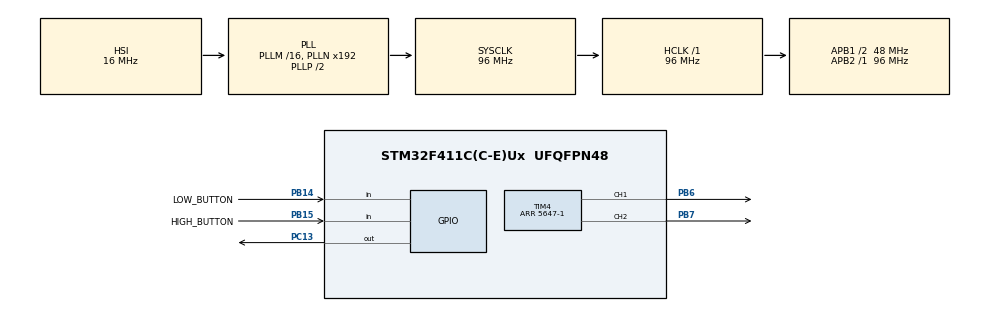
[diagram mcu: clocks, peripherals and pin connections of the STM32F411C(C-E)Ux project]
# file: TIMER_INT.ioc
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Mcu.Family=STM32F4
Mcu.Name=STM32F411C(C-E)Ux
Mcu.Package=UFQFPN48
NVIC.PriorityGroup=NVIC_PRIORITYGROUP_4
NVIC.TIM3_IRQn=true\:0\:0\:false\:false\:true\:true\:true\:true
NVIC.TIM4_IRQn=true\:0\:0\:false\:false\:true\:true\:true\:true
PA14.Signal=SYS_JTCK-SWCLK
PB14.GPIO_Label=LOW_BUTTON
PB14.Signal=GPIO_Input
PB15.GPIO_Label=HIGH_BUTTON 
PB15.Signal=GPIO_Input
PB6.Signal=S_TIM4_CH1
PB7.Signal=S_TIM4_CH2
PC13-ANTI_TAMP.Signal=GPIO_Output
ProjectManager.HeapSize=0x200
ProjectManager.StackSize=0x400
ProjectManager.TargetToolchain=EWARM V8.50
RCC.48MHZClocksFreq_Value=48000000
RCC.AHBFreq_Value=96000000
RCC.APB1CLKDivider=RCC_HCLK_DIV2
RCC.APB1Freq_Value=48000000
RCC.APB1TimFreq_Value=96000000
RCC.APB2Freq_Value=96000000
RCC.APB2TimFreq_Value=96000000
RCC.CortexFreq_Value=96000000
RCC.HCLKFreq_Value=96000000
RCC.HSE_VALUE=25000000
RCC.HSI_VALUE=16000000
RCC.LSE_VALUE=32768
RCC.SYSCLKFreq_VALUE=96000000
RCC.SYSCLKSource=RCC_SYSCLKSOURCE_PLLCLK
RCC.VCOOutputFreq_Value=192000000
SH.S_TIM4_CH1.0=TIM4_CH1,PWM Generation1 CH1
SH.S_TIM4_CH2.0=TIM4_CH2,PWM Generation2 CH2
TIM3.Channel-Output\ Compare1\ No\ Output=TIM_CHANNEL_1
TIM3.Prescaler=9600-1
TIM4.Channel-PWM\ Generation1\ CH1=TIM_CHANNEL_1
TIM4.Channel-PWM\ Generation2\ CH2=TIM_CHANNEL_2
TIM4.Period=5647-1
VP_TIM3_VS_ClockSourceINT.Mode=Internal
VP_TIM3_VS_no_output1.Mode=Output Compare1 No Output
VP_TIM4_VS_ClockSourceINT.Mode=Internal
board=custom

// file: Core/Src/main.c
/* USER CODE BEGIN Header */
/**
  ******************************************************************************
  * @file           : main.c
  * @brief          : Main program body
  ****************************-**************************************************
  * @attention
  *
  * Copyright (c) 2025 STMicroelectronics.
  * All rights reserved.
  *
  * This software is licensed under terms that can be found in the LICENSE file
  * in the root directory of this software component.
  * If no LICENSE file comes with this software, it is provided AS-IS.
  *
  ******************************************************************************
  */
/* USER CODE END Header */
#include "main.h"
#include "button.h"

TIM_HandleTypeDef htim3;
TIM_HandleTypeDef htim4;

void SystemClock_Config(void);
static void MX_GPIO_Init(void);
static void MX_TIM4_Init(void);
static void MX_TIM3_Init(void);

/* USER CODE BEGIN 0 */

uint32_t time_count = 0;
float duty_cycle = 0.0; // Initial duty cycle of 50%

void HAL_TIM_PeriodElapsedCallback(TIM_HandleTypeDef *htim)
{
  if (htim->Instance == TIM3) {
    HAL_GPIO_TogglePin(GPIOC, GPIO_PIN_13); // Toggle the LED on PC13
    time_count ++;
    if (time_count <= 4000){
      htim4.Instance->CCR1 = (htim4.Instance->ARR)*(time_count)/4000;
    }
    else if (time_count <= 6000){
      htim4.Instance->CCR1 = (htim4.Instance->ARR)*(2000-(time_count-4000))/2000;
    }
    else {
      time_count = 0;
    }
    // This callback is called when TIM3 overflows
    // You can add code here to handle the overflow event
  }
}

/* USER CODE END 0 */

int main(void)
{

  /* MCU Configuration--------------------------------------------------------*/

  /* Reset of all peripherals, Initializes the Flash interface and the Systick. */
  HAL_Init();

  /* Configure the system clock */
  SystemClock_Config();

  /* Initialize all configured peripherals */
  MX_GPIO_Init();
  MX_TIM4_Init();
  MX_TIM3_Init();
  /* USER CODE BEGIN 2 */

  HAL_TIM_PWM_Start(&htim4, TIM_CHANNEL_1);
  HAL_TIM_PWM_Start(&htim4, TIM_CHANNEL_2);
  HAL_TIM_Base_Start_IT(&htim3);
  /* USER CODE END 2 */

  /* Infinite loop */
  while (1)
  {

    /* USER CODE BEGIN 3 */

    HAL_Delay(50);

    if (button_release(LOW_BUTTON_GPIO_Port, LOW_BUTTON_Pin, 0))
    {
      if (duty_cycle > 0.0) {
        duty_cycle -= 12.5;
      }
    }
    if (button_release(HIGH_BUTTON_GPIO_Port, HIGH_BUTTON_Pin, 0))
    {
      if (duty_cycle < 100.0) {
        duty_cycle += 12.5;
      }
    }
    htim4.Instance->CCR2 = (htim4.Instance->ARR)*(duty_cycle/100.0);
    HAL_Delay(50);
  }
  /* USER CODE END 3 */
}

void SystemClock_Config(void)
{
  RCC_OscInitTypeDef RCC_OscInitStruct = {0};
  RCC_ClkInitTypeDef RCC_ClkInitStruct = {0};

  /** Configure the main internal regulator output voltage
  */
  __HAL_RCC_PWR_CLK_ENABLE();
  __HAL_PWR_VOLTAGESCALING_CONFIG(PWR_REGULATOR_VOLTAGE_SCALE1);

  /** Initializes the RCC Oscillators according to the specified parameters
  * in the RCC_OscInitTypeDef structure.
  */
  RCC_OscInitStruct.OscillatorType = RCC_OSCILLATORTYPE_HSI;
  RCC_OscInitStruct.HSIState = RCC_HSI_ON;
  RCC_OscInitStruct.HSICalibrationValue = RCC_HSICALIBRATION_DEFAULT;
  RCC_OscInitStruct.PLL.PLLState = RCC_PLL_ON;
  RCC_OscInitStruct.PLL.PLLSource = RCC_PLLSOURCE_HSI;
  RCC_OscInitStruct.PLL.PLLM = 16;
  RCC_OscInitStruct.PLL.PLLN = 192;
  RCC_OscInitStruct.PLL.PLLP = RCC_PLLP_DIV2;
  RCC_OscInitStruct.PLL.PLLQ = 4;
  if (HAL_RCC_OscConfig(&RCC_OscInitStruct) != HAL_OK)
  {
    Error_Handler();
  }

  /** Initializes the CPU, AHB and APB buses clocks
  */
  RCC_ClkInitStruct.ClockType = RCC_CLOCKTYPE_HCLK|RCC_CLOCKTYPE_SYSCLK
                              |RCC_CLOCKTYPE_PCLK1|RCC_CLOCKTYPE_PCLK2;
  RCC_ClkInitStruct.SYSCLKSource = RCC_SYSCLKSOURCE_PLLCLK;
  RCC_ClkInitStruct.AHBCLKDivider = RCC_SYSCLK_DIV1;
  RCC_ClkInitStruct.APB1CLKDivider = RCC_HCLK_DIV2;
  RCC_ClkInitStruct.APB2CLKDivider = RCC_HCLK_DIV1;

  if (HAL_RCC_ClockConfig(&RCC_ClkInitStruct, FLASH_LATENCY_3) != HAL_OK)
  {
    Error_Handler();
  }
}

static void MX_TIM3_Init(void)
{

  TIM_ClockConfigTypeDef sClockSourceConfig = {0};
  TIM_MasterConfigTypeDef sMasterConfig = {0};
  TIM_OC_InitTypeDef sConfigOC = {0};

  htim3.Instance = TIM3;
  htim3.Init.Prescaler = 9600-1;
  htim3.Init.CounterMode = TIM_COUNTERMODE_UP;
  htim3.Init.Period = 10;
  htim3.Init.ClockDivision = TIM_CLOCKDIVISION_DIV1;
  htim3.Init.AutoReloadPreload = TIM_AUTORELOAD_PRELOAD_DISABLE;
  if (HAL_TIM_Base_Init(&htim3) != HAL_OK)
  {
    Error_Handler();
  }
  sClockSourceConfig.ClockSource = TIM_CLOCKSOURCE_INTERNAL;
  if (HAL_TIM_ConfigClockSource(&htim3, &sClockSourceConfig) != HAL_OK)
  {
    Error_Handler();
  }
  if (HAL_TIM_OC_Init(&htim3) != HAL_OK)
  {
    Error_Handler();
  }
  sMasterConfig.MasterOutputTrigger = TIM_TRGO_RESET;
  sMasterConfig.MasterSlaveMode = TIM_MASTERSLAVEMODE_DISABLE;
  if (HAL_TIMEx_MasterConfigSynchronization(&htim3, &sMasterConfig) != HAL_OK)
  {
    Error_Handler();
  }
  sConfigOC.OCMode = TIM_OCMODE_TIMING;
  sConfigOC.Pulse = 0;
  sConfigOC.OCPolarity = TIM_OCPOLARITY_HIGH;
  sConfigOC.OCFastMode = TIM_OCFAST_DISABLE;
  if (HAL_TIM_OC_ConfigChannel(&htim3, &sConfigOC, TIM_CHANNEL_1) != HAL_OK)
  {
    Error_Handler();
  }

}

static void MX_TIM4_Init(void)
{

  TIM_ClockConfigTypeDef sClockSourceConfig = {0};
  TIM_MasterConfigTypeDef sMasterConfig = {0};
  TIM_OC_InitTypeDef sConfigOC = {0};

  htim4.Instance = TIM4;
  htim4.Init.Prescaler = 0;
  htim4.Init.CounterMode = TIM_COUNTERMODE_UP;
  htim4.Init.Period = 5647-1;
  htim4.Init.ClockDivision = TIM_CLOCKDIVISION_DIV1;
  htim4.Init.AutoReloadPreload = TIM_AUTORELOAD_PRELOAD_DISABLE;
  if (HAL_TIM_Base_Init(&htim4) != HAL_OK)
  {
    Error_Handler();
  }
  sClockSourceConfig.ClockSource = TIM_CLOCKSOURCE_INTERNAL;
  if (HAL_TIM_ConfigClockSource(&htim4, &sClockSourceConfig) != HAL_OK)
  {
    Error_Handler();
  }
  if (HAL_TIM_PWM_Init(&htim4) != HAL_OK)
  {
    Error_Handler();
  }
  sMasterConfig.MasterOutputTrigger = TIM_TRGO_RESET;
  sMasterConfig.MasterSlaveMode = TIM_MASTERSLAVEMODE_DISABLE;
  if (HAL_TIMEx_MasterConfigSynchronization(&htim4, &sMasterConfig) != HAL_OK)
  {
    Error_Handler();
  }
  sConfigOC.OCMode = TIM_OCMODE_PWM1;
  sConfigOC.Pulse = 0;
  sConfigOC.OCPolarity = TIM_OCPOLARITY_HIGH;
  sConfigOC.OCFastMode = TIM_OCFAST_DISABLE;
  if (HAL_TIM_PWM_ConfigChannel(&htim4, &sConfigOC, TIM_CHANNEL_1) != HAL_OK)
  {
    Error_Handler();
  }
  if (HAL_TIM_PWM_ConfigChannel(&htim4, &sConfigOC, TIM_CHANNEL_2) != HAL_OK)
  {
    Error_Handler();
  }
  HAL_TIM_MspPostInit(&htim4);

}

static void MX_GPIO_Init(void)
{
  GPIO_InitTypeDef GPIO_InitStruct = {0};

  /* GPIO Ports Clock Enable */
  __HAL_RCC_GPIOC_CLK_ENABLE();
  __HAL_RCC_GPIOB_CLK_ENABLE();
  __HAL_RCC_GPIOA_CLK_ENABLE();

  /*Configure GPIO pin Output Level */
  HAL_GPIO_WritePin(GPIOC, GPIO_PIN_13, GPIO_PIN_RESET);

  /*Configure GPIO pin : PC13 */
  GPIO_InitStruct.Pin = GPIO_PIN_13;
  GPIO_InitStruct.Mode = GPIO_MODE_OUTPUT_PP;
  GPIO_InitStruct.Pull = GPIO_NOPULL;
  GPIO_InitStruct.Speed = GPIO_SPEED_FREQ_LOW;
  HAL_GPIO_Init(GPIOC, &GPIO_InitStruct);

  /*Configure GPIO pins : LOW_BUTTON_Pin HIGH_BUTTON_Pin */
  GPIO_InitStruct.Pin = LOW_BUTTON_Pin|HIGH_BUTTON_Pin;
  GPIO_InitStruct.Mode = GPIO_MODE_INPUT;
  GPIO_InitStruct.Pull = GPIO_NOPULL;
  HAL_GPIO_Init(GPIOB, &GPIO_InitStruct);

}

void Error_Handler(void)
{
  __disable_irq();
  while (1)
  {
  }
}
